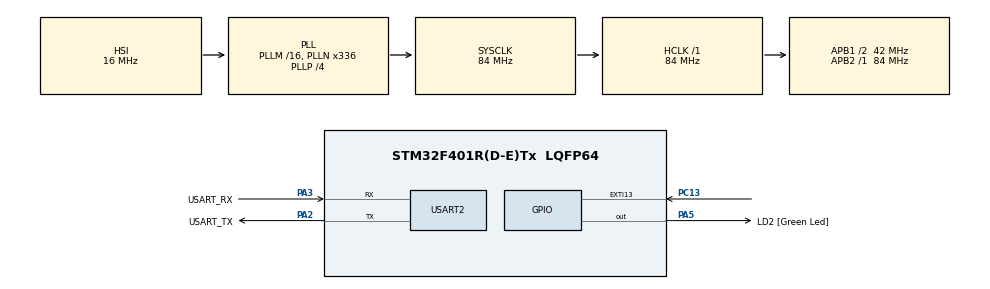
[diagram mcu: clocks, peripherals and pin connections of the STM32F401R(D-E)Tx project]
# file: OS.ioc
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FREERTOS.Queues01=voltageQueue,4,float,0,Dynamic,NULL,NULL;currentQueue,4,float,0,Dynamic,NULL,NULL;temperatureQueue,4,float,0,Dynamic,NULL,NULL;bmsStateQueue,4,struct,0,Dynamic,NULL,NULL
FREERTOS.Tasks01=defaultTask,24,128,StartDefaultTask,Default,NULL,Dynamic,NULL,NULL;MonitorTask,8,512,StartMonitorTask,Default,NULL,Dynamic,NULL,NULL;VoltageTask,24,256,StartVoltageTask,Default,NULL,Dynamic,NULL,NULL;CurrentTask,24,256,StartCurrentTask,Default,NULL,Dynamic,NULL,NULL;TemperatureTask,24,256,StartTemperatureTask,Default,NULL,Dynamic,NULL,NULL;SafetyTask,40,512,StartSafetyTask,Default,NULL,Dynamic,NULL,NULL;FaultInjectionT,32,512,StartFaultInjectionTask,Default,NULL,Dynamic,NULL,NULL
Mcu.Family=STM32F4
Mcu.Name=STM32F401R(D-E)Tx
Mcu.Package=LQFP64
NVIC.PriorityGroup=NVIC_PRIORITYGROUP_4
PA13.GPIO_Label=TMS
PA13.Mode=Serial_Wire
PA13.Signal=SYS_JTMS-SWDIO
PA14.GPIO_Label=TCK
PA14.Mode=Serial_Wire
PA14.Signal=SYS_JTCK-SWCLK
PA2.GPIO_Label=USART_TX
PA2.GPIO_Mode=GPIO_MODE_AF_PP
PA2.GPIO_PuPd=GPIO_NOPULL
PA2.GPIO_Speed=GPIO_SPEED_FREQ_LOW
PA2.Mode=Asynchronous
PA2.Signal=USART2_TX
PA3.GPIO_Label=USART_RX
PA3.GPIO_Mode=GPIO_MODE_AF_PP
PA3.GPIO_PuPd=GPIO_NOPULL
PA3.GPIO_Speed=GPIO_SPEED_FREQ_LOW
PA3.Mode=Asynchronous
PA3.Signal=USART2_RX
PA5.GPIO_Label=LD2 [Green Led]
PA5.GPIO_Mode=GPIO_MODE_OUTPUT_PP
PA5.GPIO_PuPd=GPIO_NOPULL
PA5.GPIO_Speed=GPIO_SPEED_FREQ_LOW
PA5.Signal=GPIO_Output
PB3.GPIO_Label=SWO
PB3.Signal=SYS_JTDO-SWO
PC13-ANTI_TAMP.Signal=GPXTI13
PC14-OSC32_IN.Mode=LSE-External-Oscillator
PC14-OSC32_IN.Signal=RCC_OSC32_IN
PC15-OSC32_OUT.Mode=LSE-External-Oscillator
PC15-OSC32_OUT.Signal=RCC_OSC32_OUT
PH0\ -\ OSC_IN.Mode=HSE-External-Clock-Source
PH0\ -\ OSC_IN.Signal=RCC_OSC_IN
PH1\ -\ OSC_OUT.Mode=HSE-External-Clock-Source
PH1\ -\ OSC_OUT.Signal=RCC_OSC_OUT
ProjectManager.HeapSize=0x200
ProjectManager.StackSize=0x400
ProjectManager.TargetToolchain=STM32CubeIDE
RCC.48MHZClocksFreq_Value=48000000
RCC.AHBFreq_Value=84000000
RCC.APB1CLKDivider=RCC_HCLK_DIV2
RCC.APB1Freq_Value=42000000
RCC.APB1TimFreq_Value=84000000
RCC.APB2Freq_Value=84000000
RCC.APB2TimFreq_Value=84000000
RCC.CortexFreq_Value=84000000
RCC.HCLKFreq_Value=84000000
RCC.HSE_VALUE=8000000
RCC.HSI_VALUE=16000000
RCC.PLLN=336
RCC.PLLP=RCC_PLLP_DIV4
RCC.PLLQ=7
RCC.SYSCLKFreq_VALUE=84000000
RCC.SYSCLKSource=RCC_SYSCLKSOURCE_PLLCLK
RCC.VCOOutputFreq_Value=336000000
USART2.VirtualMode=VM_ASYNC
VP_FREERTOS_VS_CMSIS_V2.Mode=CMSIS_V2
board=NUCLEO-F401RE

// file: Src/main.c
/* USER CODE BEGIN Header */
/**
  ******************************************************************************
  * @file           : main.c
  * @brief          : VoltOS - Simplified BMS with Fault Injection
  ******************************************************************************
  * @attention
  *
  * VoltOS BMS
  *
  * Simulação de um Battery Management System utilizando:
  *
  *  - STM32F401RE
  *  - FreeRTOS / CMSIS-RTOS2
  *  - UART2
  *  - Message Queues
  *  - Tasks independentes para sensores
  *  - Safety Task
  *  - Fault Injection
  *
  ******************************************************************************
  */
/* USER CODE END Header */

#include "main.h"
#include "cmsis_os.h"

#include <stdio.h>
#include <string.h>

/* USER CODE BEGIN PTD */

/**
 * @brief Estado do BMS
 */
typedef enum
{
    BMS_STATUS_NORMAL = 0,
    BMS_STATUS_WARNING,
    BMS_STATUS_CRITICAL

} BMS_Status_t;

/**
 * @brief Dados dos sensores
 */
typedef struct
{
    float voltage;
    float current;
    float temperature;
    float soc;

} BMS_Data_t;

/**
 * @brief Estado completo do sistema
 */
typedef struct
{
    BMS_Data_t data;

    BMS_Status_t status;

    uint8_t overVoltage;
    uint8_t underVoltage;
    uint8_t overCurrent;
    uint8_t overTemperature;

} BMS_State_t;

/**
 * @brief Tipos de falha que podem ser injetados.
 *
 * A falha não substitui a simulação.
 * Ela apenas modifica temporariamente o valor
 * produzido pelo sensor.
 */
typedef enum
{
    FAULT_NONE = 0,

    FAULT_OVERVOLTAGE,
    FAULT_UNDERVOLTAGE,
    FAULT_OVERCURRENT,
    FAULT_OVERTEMPERATURE

} FaultType_t;

/* USER CODE END PTD */

/* USER CODE BEGIN PD */

/*
 * ============================================================
 * BMS PROTECTION LIMITS
 * ============================================================
 */

/* Voltage */
#define BMS_MAX_VOLTAGE          54.6f
#define BMS_MIN_VOLTAGE          40.0f

/* Current */
#define BMS_MAX_CURRENT          20.0f

/* Temperature */
#define BMS_MAX_TEMPERATURE      60.0f

/*
 * ============================================================
 * WARNING LIMITS
 * ============================================================
 */

#define BMS_WARNING_HIGH_VOLTAGE    51.0f
#define BMS_WARNING_LOW_VOLTAGE     42.0f

#define BMS_WARNING_CURRENT         15.0f

#define BMS_WARNING_TEMPERATURE     45.0f

/*
 * ============================================================
 * FAULT INJECTION
 * ============================================================
 *
 * Cada estado permanece durante alguns segundos.
 *
 * NORMAL
 *   ↓
 * OVERVOLTAGE
 *   ↓
 * NORMAL
 *   ↓
 * UNDERVOLTAGE
 *   ↓
 * NORMAL
 *   ↓
 * OVERCURRENT
 *   ↓
 * NORMAL
 *   ↓
 * OVERTEMPERATURE
 *   ↓
 * NORMAL
 *   ↓
 * repete
 *
 */

/*
 * Tempo em estado normal antes da primeira falha.
 */
#define FAULT_NORMAL_TIME_MS       10000U

/*
 * Duração de cada falha.
 */
#define FAULT_DURATION_MS           5000U

/*
 * Tempo entre mudanças de estado.
 */
#define FAULT_CYCLE_TIME_MS        15000U

/*
 * Valores utilizados somente durante a injeção.
 *
 * Esses valores ultrapassam deliberadamente
 * os limites de proteção.
 */

#define INJECTED_OVERVOLTAGE        55.0f
#define INJECTED_UNDERVOLTAGE       39.0f
#define INJECTED_OVERCURRENT        25.0f
#define INJECTED_OVERTEMPERATURE    65.0f

/* USER CODE END PD */

UART_HandleTypeDef huart2;

osThreadId_t MonitorTaskHandle;

const osThreadAttr_t MonitorTask_attributes =
{
    .name = "MonitorTask",
    .stack_size = 512 * 4,
    .priority = (osPriority_t)osPriorityLow,
};

osThreadId_t VoltageTaskHandle;

const osThreadAttr_t VoltageTask_attributes =
{
    .name = "VoltageTask",
    .stack_size = 256 * 4,
    .priority = (osPriority_t)osPriorityNormal,
};

osThreadId_t CurrentTaskHandle;

const osThreadAttr_t CurrentTask_attributes =
{
    .name = "CurrentTask",
    .stack_size = 256 * 4,
    .priority = (osPriority_t)osPriorityNormal,
};

osThreadId_t TemperatureTaskHandle;

const osThreadAttr_t TemperatureTask_attributes =
{
    .name = "TemperatureTask",
    .stack_size = 256 * 4,
    .priority = (osPriority_t)osPriorityNormal,
};

osThreadId_t SafetyTaskHandle;

const osThreadAttr_t SafetyTask_attributes =
{
    .name = "SafetyTask",
    .stack_size = 512 * 4,
    .priority = (osPriority_t)osPriorityHigh,
};

osThreadId_t FaultInjectionTaskHandle;

const osThreadAttr_t FaultInjectionTask_attributes =
{
    .name = "FaultInjectionTask",
    .stack_size = 512 * 4,
    .priority = (osPriority_t)osPriorityAboveNormal,
};

osMessageQueueId_t voltageQueueHandle;

const osMessageQueueAttr_t voltageQueue_attributes =
{
    .name = "voltageQueue"
};

osMessageQueueId_t currentQueueHandle;

const osMessageQueueAttr_t currentQueue_attributes =
{
    .name = "currentQueue"
};

osMessageQueueId_t temperatureQueueHandle;

const osMessageQueueAttr_t temperatureQueue_attributes =
{
    .name = "temperatureQueue"
};

osMessageQueueId_t bmsStateQueueHandle;

const osMessageQueueAttr_t bmsStateQueue_attributes =
{
    .name = "bmsStateQueue"
};

/* USER CODE BEGIN PV */

/**
 * @brief Falha atualmente injetada.
 *
 * volatile porque é acessada por várias Tasks.
 */
static volatile FaultType_t activeFault = FAULT_NONE;

/**
 * @brief Indica se existe uma falha ativa.
 */
static volatile uint8_t faultInjectionActive = 0;

/**
 * @brief Estado crítico detectado pelo SafetyTask.
 *
 * Diferente de um shutdown permanente:
 * o sistema continua executando para que possamos
 * observar a recuperação após a remoção da falha.
 */
static volatile uint8_t systemCritical = 0;

/* USER CODE END PV */

void SystemClock_Config(void);

static void MX_GPIO_Init(void);

static void MX_USART2_UART_Init(void);

void StartMonitorTask(void *argument);

void StartVoltageTask(void *argument);

void StartCurrentTask(void *argument);

void StartTemperatureTask(void *argument);

void StartSafetyTask(void *argument);

void StartFaultInjectionTask(void *argument);

/* USER CODE BEGIN PFP */

static void UART_Send(const char *message);

static const char *BMS_StatusToString(BMS_Status_t status);

static const char *FaultTypeToString(FaultType_t fault);

static BMS_Status_t BMS_EvaluateSafety(BMS_State_t *state);

/* USER CODE END PFP */

/* USER CODE BEGIN 0 */

/**
 * @brief Envia texto via UART2.
 */
static void UART_Send(const char *message)
{
    HAL_UART_Transmit(
        &huart2,
        (uint8_t *)message,
        strlen(message),
        HAL_MAX_DELAY
    );
}

/**
 * @brief Converte status para string.
 */
static const char *BMS_StatusToString(BMS_Status_t status)
{
    switch (status)
    {
        case BMS_STATUS_NORMAL:
            return "NORMAL";

        case BMS_STATUS_WARNING:
            return "WARNING";

        case BMS_STATUS_CRITICAL:
            return "CRITICAL";

        default:
            return "UNKNOWN";
    }
}

/**
 * @brief Converte tipo de falha para texto.
 */
static const char *FaultTypeToString(FaultType_t fault)
{
    switch (fault)
    {
        case FAULT_OVERVOLTAGE:
            return "OVERVOLTAGE";

        case FAULT_UNDERVOLTAGE:
            return "UNDERVOLTAGE";

        case FAULT_OVERCURRENT:
            return "OVERCURRENT";

        case FAULT_OVERTEMPERATURE:
            return "OVER TEMPERATURE";

        case FAULT_NONE:
        default:
            return "NONE";
    }
}

/**
 * @brief Avalia o estado de segurança do BMS.
 */
static BMS_Status_t BMS_EvaluateSafety(BMS_State_t *state)
{
    state->overVoltage = 0;
    state->underVoltage = 0;
    state->overCurrent = 0;
    state->overTemperature = 0;

    /*
     * ========================================================
     * VOLTAGE
     * ========================================================
     */

    if (state->data.voltage >= BMS_MAX_VOLTAGE)
    {
        state->overVoltage = 1;
    }

    if (state->data.voltage <= BMS_MIN_VOLTAGE)
    {
        state->underVoltage = 1;
    }

    /*
     * ========================================================
     * CURRENT
     * ========================================================
     */

    if (state->data.current >= BMS_MAX_CURRENT)
    {
        state->overCurrent = 1;
    }

    /*
     * ========================================================
     * TEMPERATURE
     * ========================================================
     */

    if (state->data.temperature >= BMS_MAX_TEMPERATURE)
    {
        state->overTemperature = 1;
    }

    /*
     * ========================================================
     * CRITICAL
     * ========================================================
     */

    if (
        state->overVoltage ||
        state->underVoltage ||
        state->overCurrent ||
        state->overTemperature
       )
    {
        return BMS_STATUS_CRITICAL;
    }

    /*
     * ========================================================
     * WARNING
     * ========================================================
     */

    if (
        state->data.voltage >= BMS_WARNING_HIGH_VOLTAGE ||
        state->data.voltage <= BMS_WARNING_LOW_VOLTAGE ||
        state->data.current >= BMS_WARNING_CURRENT ||
        state->data.temperature >= BMS_WARNING_TEMPERATURE
       )
    {
        return BMS_STATUS_WARNING;
    }

    return BMS_STATUS_NORMAL;
}

/* USER CODE END 0 */

int main(void)
{

    /* MCU Configuration --------------------------------------*/

    HAL_Init();

    /* Configure system clock */
    SystemClock_Config();

    /* Initialize peripherals */
    MX_GPIO_Init();

    MX_USART2_UART_Init();

    /* USER CODE BEGIN 2 */

    UART_Send("\r\n");
    UART_Send("================================\r\n");
    UART_Send("           VoltOS BMS\r\n");
    UART_Send("================================\r\n");

    UART_Send("[SYSTEM] Initializing...\r\n");

    UART_Send("[SYSTEM] Sensor simulation: ENABLED\r\n");

    UART_Send("[SYSTEM] Fault injection: ENABLED\r\n");

    UART_Send("[SYSTEM] Automatic fault cycle: ENABLED\r\n");

    UART_Send("================================\r\n");

    /* USER CODE END 2 */

    /* Init scheduler */
    osKernelInitialize();

    /* Create queues ------------------------------------------*/

    voltageQueueHandle =
        osMessageQueueNew(
            4,
            sizeof(float),
            &voltageQueue_attributes
        );

    currentQueueHandle =
        osMessageQueueNew(
            4,
            sizeof(float),
            &currentQueue_attributes
        );

    temperatureQueueHandle =
        osMessageQueueNew(
            4,
            sizeof(float),
            &temperatureQueue_attributes
        );

    bmsStateQueueHandle =
        osMessageQueueNew(
            4,
            sizeof(BMS_State_t),
            &bmsStateQueue_attributes
        );

    /* Create tasks -------------------------------------------*/

    MonitorTaskHandle =
        osThreadNew(
            StartMonitorTask,
            NULL,
            &MonitorTask_attributes
        );

    VoltageTaskHandle =
        osThreadNew(
            StartVoltageTask,
            NULL,
            &VoltageTask_attributes
        );

    CurrentTaskHandle =
        osThreadNew(
            StartCurrentTask,
            NULL,
            &CurrentTask_attributes
        );

    TemperatureTaskHandle =
        osThreadNew(
            StartTemperatureTask,
            NULL,
            &TemperatureTask_attributes
        );

    SafetyTaskHandle =
        osThreadNew(
            StartSafetyTask,
            NULL,
            &SafetyTask_attributes
        );

    FaultInjectionTaskHandle =
        osThreadNew(
            StartFaultInjectionTask,
            NULL,
            &FaultInjectionTask_attributes
        );

    /* Start scheduler */

    osKernelStart();

    while (1)
    {
    }
}

/**
 * @brief Voltage Task
 *
 * Simula o comportamento normal da tensão.
 *
 * IMPORTANTE:
 * A falha é aplicada DEPOIS da simulação normal.
 */
void StartVoltageTask(void *argument)
{
    (void)argument;

    float voltage = 48.0f;

    float simulatedVoltage;

    for (;;)
    {
        /*
         * ====================================================
         * SIMULAÇÃO REAL DO SENSOR
         * ====================================================
         */

        voltage += 0.1f;

        if (voltage >= 50.0f)
        {
            voltage = 48.0f;
        }

        /*
         * Começamos com o valor físico simulado.
         */
        simulatedVoltage = voltage;

        /*
         * ====================================================
         * FAULT INJECTION
         * ====================================================
         *
         * A simulação continua existindo.
         * Apenas sobrescrevemos temporariamente
         * o valor enviado ao BMS.
         */

        if (activeFault == FAULT_OVERVOLTAGE)
        {
            simulatedVoltage = INJECTED_OVERVOLTAGE;
        }

        if (activeFault == FAULT_UNDERVOLTAGE)
        {
            simulatedVoltage = INJECTED_UNDERVOLTAGE;
        }

        /*
         * Envia valor para SafetyTask.
         */

        osMessageQueuePut(
            voltageQueueHandle,
            &simulatedVoltage,
            0,
            0
        );

        osDelay(500);
    }
}

/**
 * @brief Current Task
 *
 * Simulação normal da corrente.
 */
void StartCurrentTask(void *argument)
{
    (void)argument;

    float current = 8.0f;

    float simulatedCurrent;

    for (;;)
    {
        /*
         * ====================================================
         * SIMULAÇÃO NORMAL
         * ====================================================
         */

        current += 0.5f;

        if (current >= 12.0f)
        {
            current = 8.0f;
        }

        simulatedCurrent = current;

        /*
         * ====================================================
         * FAULT INJECTION
         * ====================================================
         */

        if (activeFault == FAULT_OVERCURRENT)
        {
            simulatedCurrent = INJECTED_OVERCURRENT;
        }

        /*
         * Envia corrente.
         */

        osMessageQueuePut(
            currentQueueHandle,
            &simulatedCurrent,
            0,
            0
        );

        osDelay(500);
    }
}

/**
 * @brief Temperature Task
 *
 * Simulação normal da temperatura.
 */
void StartTemperatureTask(void *argument)
{
    (void)argument;

    float temperature = 30.0f;

    float simulatedTemperature;

    for (;;)
    {
        /*
         * ====================================================
         * SIMULAÇÃO NORMAL
         * ====================================================
         */

        temperature += 0.5f;

        if (temperature >= 35.0f)
        {
            temperature = 30.0f;
        }

        simulatedTemperature = temperature;

        /*
         * ====================================================
         * FAULT INJECTION
         * ====================================================
         */

        if (activeFault == FAULT_OVERTEMPERATURE)
        {
            simulatedTemperature = INJECTED_OVERTEMPERATURE;
        }

        /*
         * Envia temperatura.
         */

        osMessageQueuePut(
            temperatureQueueHandle,
            &simulatedTemperature,
            0,
            0
        );

        osDelay(500);
    }
}

/**
 * @brief Fault Injection Task
 *
 * Controla o ciclo automático de falhas.
 *
 * IMPORTANTE:
 *
 * Esta task NÃO simula diretamente os sensores.
 *
 * Ela apenas informa qual falha deve ser aplicada.
 *
 * Os sensores continuam executando sua simulação
 * normalmente.
 */
void StartFaultInjectionTask(void *argument)
{
    (void)argument;

    FaultType_t faults[] =
    {
        FAULT_NONE,
        FAULT_OVERVOLTAGE,
        FAULT_NONE,
        FAULT_UNDERVOLTAGE,
        FAULT_NONE,
        FAULT_OVERCURRENT,
        FAULT_NONE,
        FAULT_OVERTEMPERATURE,
        FAULT_NONE
    };

    const uint32_t faultCount =
        sizeof(faults) / sizeof(faults[0]);

    uint32_t index = 0;

    char message[128];

    /*
     * ========================================================
     * INITIAL STATE
     * ========================================================
     */

    activeFault = FAULT_NONE;

    faultInjectionActive = 0;

    for (;;)
    {
        /*
         * Define o próximo estado.
         */

        activeFault = faults[index];

        /*
         * ====================================================
         * NORMAL
         * ====================================================
         */

        if (activeFault == FAULT_NONE)
        {
            faultInjectionActive = 0;

            UART_Send(
                "\r\n"
                "[FAULT] --------------------------------\r\n"
                "[FAULT] Injection state: NORMAL\r\n"
                "[FAULT] Sensor simulation running normally\r\n"
                "[FAULT] --------------------------------\r\n"
            );

            osDelay(FAULT_NORMAL_TIME_MS);
        }

        /*
         * ====================================================
         * FAULT
         * ====================================================
         */

        else
        {
            faultInjectionActive = 1;

            snprintf(
                message,
                sizeof(message),
                "\r\n"
                "[FAULT] ################################\r\n"
                "[FAULT] FAULT INJECTION ACTIVE\r\n"
                "[FAULT] Type: %s\r\n"
                "[FAULT] ################################\r\n",
                FaultTypeToString(activeFault)
            );

            UART_Send(message);

            /*
             * Mantém a falha durante o período definido.
             */

            osDelay(FAULT_DURATION_MS);

            /*
             * Remove a falha.
             */

            activeFault = FAULT_NONE;

            faultInjectionActive = 0;

            UART_Send(
                "\r\n"
                "[FAULT] Fault injection removed\r\n"
                "[FAULT] Returning to real sensor simulation\r\n"
            );

            /*
             * Dá tempo para o BMS observar
             * a recuperação.
             */

            osDelay(FAULT_NORMAL_TIME_MS);
        }

        /*
         * Próxima falha.
         */

        index++;

        if (index >= faultCount)
        {
            index = 0;
        }
    }
}

/**
 * @brief Safety Task
 *
 * Recebe os sensores e avalia o estado do BMS.
 */
void StartSafetyTask(void *argument)
{
    (void)argument;

    BMS_State_t state;

    float voltage;
    float current;
    float temperature;

    state.data.voltage = 48.0f;
    state.data.current = 8.0f;
    state.data.temperature = 30.0f;
    state.data.soc = 80.0f;

    state.status = BMS_STATUS_NORMAL;

    state.overVoltage = 0;
    state.underVoltage = 0;
    state.overCurrent = 0;
    state.overTemperature = 0;

    for (;;)
    {
        /*
         * ====================================================
         * VOLTAGE
         * ====================================================
         */

        if (
            osMessageQueueGet(
                voltageQueueHandle,
                &voltage,
                NULL,
                osWaitForever
            ) == osOK
           )
        {
            state.data.voltage = voltage;
        }

        /*
         * ====================================================
         * CURRENT
         * ====================================================
         */

        if (
            osMessageQueueGet(
                currentQueueHandle,
                &current,
                NULL,
                osWaitForever
            ) == osOK
           )
        {
            state.data.current = current;
        }

        /*
         * ====================================================
         * TEMPERATURE
         * ====================================================
         */

        if (
            osMessageQueueGet(
                temperatureQueueHandle,
                &temperature,
                NULL,
                osWaitForever
            ) == osOK
           )
        {
            state.data.temperature = temperature;
        }

        /*
         * ====================================================
         * SOC
         * ====================================================
         *
         * Simulação simples de descarga.
         */

        state.data.soc -= 0.01f;

        if (state.data.soc <= 0.0f)
        {
            state.data.soc = 100.0f;
        }

        /*
         * ====================================================
         * SAFETY EVALUATION
         * ====================================================
         */

        state.status =
            BMS_EvaluateSafety(&state);

        /*
         * ====================================================
         * CRITICAL STATE
         * ====================================================
         */

        if (state.status == BMS_STATUS_CRITICAL)
        {
            systemCritical = 1;

            HAL_GPIO_WritePin(
                LD2_GPIO_Port,
                LD2_Pin,
                GPIO_PIN_SET
            );
        }
        else
        {
            systemCritical = 0;

            /*
             * Quando a falha desaparece,
             * o sistema volta ao estado normal.
             */

            HAL_GPIO_WritePin(
                LD2_GPIO_Port,
                LD2_Pin,
                GPIO_PIN_RESET
            );
        }

        /*
         * Envia estado completo para MonitorTask.
         */

        osMessageQueuePut(
            bmsStateQueueHandle,
            &state,
            0,
            0
        );

        osDelay(100);
    }
}

/**
 * @brief Monitor Task
 *
 * Mostra o estado completo do BMS via UART.
 */
void StartMonitorTask(void *argument)
{
    (void)argument;

    BMS_State_t state;

    char message[256];

    for (;;)
    {
        if (
            osMessageQueueGet(
                bmsStateQueueHandle,
                &state,
                NULL,
                osWaitForever
            ) == osOK
           )
        {
            /*
             * =================================================
             * HEADER
             * =================================================
             */

            UART_Send("\r\n");

            UART_Send("================================\r\n");

            UART_Send("           VoltOS BMS\r\n");

            UART_Send("================================\r\n");

            /*
             * =================================================
             * VOLTAGE
             * =================================================
             */

            snprintf(
                message,
                sizeof(message),
                "[BMS] Voltage: %.2f V\r\n",
                state.data.voltage
            );

            UART_Send(message);

            /*
             * =================================================
             * CURRENT
             * =================================================
             */

            snprintf(
                message,
                sizeof(message),
                "[BMS] Current: %.2f A\r\n",
                state.data.current
            );

            UART_Send(message);

            /*
             * =================================================
             * TEMPERATURE
             * =================================================
             */

            snprintf(
                message,
                sizeof(message),
                "[BMS] Temperature: %.2f C\r\n",
                state.data.temperature
            );

            UART_Send(message);

            /*
             * =================================================
             * SOC
             * =================================================
             */

            snprintf(
                message,
                sizeof(message),
                "[BMS] SOC: %.2f %%\r\n",
                state.data.soc
            );

            UART_Send(message);

            /*
             * =================================================
             * STATUS
             * =================================================
             */

            snprintf(
                message,
                sizeof(message),
                "[BMS] Status: %s\r\n",
                BMS_StatusToString(state.status)
            );

            UART_Send(message);

            /*
             * =================================================
             * FAULT INJECTION STATUS
             * =================================================
             */

            if (faultInjectionActive)
            {
                snprintf(
                    message,
                    sizeof(message),
                    "[BMS] Injected Fault: %s\r\n",
                    FaultTypeToString(activeFault)
                );

                UART_Send(message);
            }
            else
            {
                UART_Send(
                    "[BMS] Injected Fault: NONE\r\n"
                );
            }

            /*
             * =================================================
             * PROTECTION FLAGS
             * =================================================
             */

            if (state.overVoltage)
            {
                UART_Send(
                    "[BMS] !!! OVERVOLTAGE !!!\r\n"
                );
            }

            if (state.underVoltage)
            {
                UART_Send(
                    "[BMS] !!! UNDERVOLTAGE !!!\r\n"
                );
            }

            if (state.overCurrent)
            {
                UART_Send(
                    "[BMS] !!! OVERCURRENT !!!\r\n"
                );
            }

            if (state.overTemperature)
            {
                UART_Send(
                    "[BMS] !!! OVER TEMPERATURE !!!\r\n"
                );
            }

            /*
             * =================================================
             * CRITICAL
             * =================================================
             */

            if (state.status == BMS_STATUS_CRITICAL)
            {
                UART_Send(
                    "[BMS] !!! CRITICAL CONDITION !!!\r\n"
                );

                UART_Send(
                    "[BMS] !!! SAFETY RESPONSE ACTIVE !!!\r\n"
                );
            }

            UART_Send(
                "================================\r\n"
            );
        }

        osDelay(100);
    }
}

void SystemClock_Config(void)
{
    RCC_OscInitTypeDef RCC_OscInitStruct = {0};

    RCC_ClkInitTypeDef RCC_ClkInitStruct = {0};

    __HAL_RCC_PWR_CLK_ENABLE();

    __HAL_PWR_VOLTAGESCALING_CONFIG(
        PWR_REGULATOR_VOLTAGE_SCALE2
    );

    RCC_OscInitStruct.OscillatorType =
        RCC_OSCILLATORTYPE_HSI;

    RCC_OscInitStruct.HSIState =
        RCC_HSI_ON;

    RCC_OscInitStruct.HSICalibrationValue =
        RCC_HSICALIBRATION_DEFAULT;

    RCC_OscInitStruct.PLL.PLLState =
        RCC_PLL_ON;

    RCC_OscInitStruct.PLL.PLLSource =
        RCC_PLLSOURCE_HSI;

    RCC_OscInitStruct.PLL.PLLM = 16;

    RCC_OscInitStruct.PLL.PLLN = 336;

    RCC_OscInitStruct.PLL.PLLP =
        RCC_PLLP_DIV4;

    RCC_OscInitStruct.PLL.PLLQ = 7;

    if (
        HAL_RCC_OscConfig(
            &RCC_OscInitStruct
        ) != HAL_OK
       )
    {
        Error_Handler();
    }

    RCC_ClkInitStruct.ClockType =
        RCC_CLOCKTYPE_HCLK |
        RCC_CLOCKTYPE_SYSCLK |
        RCC_CLOCKTYPE_PCLK1 |
        RCC_CLOCKTYPE_PCLK2;

    RCC_ClkInitStruct.SYSCLKSource =
        RCC_SYSCLKSOURCE_PLLCLK;

    RCC_ClkInitStruct.AHBCLKDivider =
        RCC_SYSCLK_DIV1;

    RCC_ClkInitStruct.APB1CLKDivider =
        RCC_HCLK_DIV2;

    RCC_ClkInitStruct.APB2CLKDivider =
        RCC_HCLK_DIV1;

    if (
        HAL_RCC_ClockConfig(
            &RCC_ClkInitStruct,
            FLASH_LATENCY_2
        ) != HAL_OK
       )
    {
        Error_Handler();
    }
}

static void MX_USART2_UART_Init(void)
{
    huart2.Instance = USART2;

    huart2.Init.BaudRate = 115200;

    huart2.Init.WordLength =
        UART_WORDLENGTH_8B;

    huart2.Init.StopBits =
        UART_STOPBITS_1;

    huart2.Init.Parity =
        UART_PARITY_NONE;

    huart2.Init.Mode =
        UART_MODE_TX_RX;

    huart2.Init.HwFlowCtl =
        UART_HWCONTROL_NONE;

    huart2.Init.OverSampling =
        UART_OVERSAMPLING_16;

    if (
        HAL_UART_Init(&huart2)
        != HAL_OK
       )
    {
        Error_Handler();
    }
}

static void MX_GPIO_Init(void)
{
    GPIO_InitTypeDef GPIO_InitStruct = {0};

    __HAL_RCC_GPIOC_CLK_ENABLE();

    __HAL_RCC_GPIOH_CLK_ENABLE();

    __HAL_RCC_GPIOA_CLK_ENABLE();

    __HAL_RCC_GPIOB_CLK_ENABLE();

    HAL_GPIO_WritePin(
        LD2_GPIO_Port,
        LD2_Pin,
        GPIO_PIN_RESET
    );

    /*
     * PC13
     */

    GPIO_InitStruct.Pin =
        GPIO_PIN_13;

    GPIO_InitStruct.Mode =
        GPIO_MODE_IT_RISING;

    GPIO_InitStruct.Pull =
        GPIO_NOPULL;

    HAL_GPIO_Init(
        GPIOC,
        &GPIO_InitStruct
    );

    /*
     * LD2
     */

    GPIO_InitStruct.Pin =
        LD2_Pin;

    GPIO_InitStruct.Mode =
        GPIO_MODE_OUTPUT_PP;

    GPIO_InitStruct.Pull =
        GPIO_NOPULL;

    GPIO_InitStruct.Speed =
        GPIO_SPEED_FREQ_LOW;

    HAL_GPIO_Init(
        LD2_GPIO_Port,
        &GPIO_InitStruct
    );
}

/**
 * @brief Error Handler
 */
void Error_Handler(void)
{
    __disable_irq();

    while (1)
    {
    }
}
